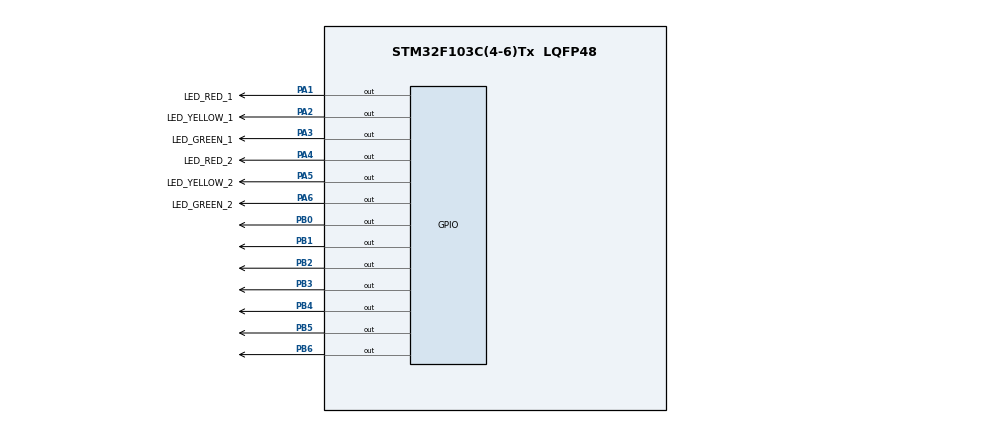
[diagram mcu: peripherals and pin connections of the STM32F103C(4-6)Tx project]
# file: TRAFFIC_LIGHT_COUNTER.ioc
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Mcu.Family=STM32F1
Mcu.Name=STM32F103C(4-6)Tx
Mcu.Package=LQFP48
NVIC.PriorityGroup=NVIC_PRIORITYGROUP_4
PA1.GPIO_Label=LED_RED_1
PA1.Signal=GPIO_Output
PA2.GPIO_Label=LED_YELLOW_1
PA2.Signal=GPIO_Output
PA3.GPIO_Label=LED_GREEN_1
PA3.Signal=GPIO_Output
PA4.GPIO_Label=LED_RED_2
PA4.Signal=GPIO_Output
PA5.GPIO_Label=LED_YELLOW_2
PA5.Signal=GPIO_Output
PA6.GPIO_Label=LED_GREEN_2
PA6.Signal=GPIO_Output
PB0.Signal=GPIO_Output
PB1.Signal=GPIO_Output
PB2.Signal=GPIO_Output
PB3.Signal=GPIO_Output
PB4.Signal=GPIO_Output
PB5.Signal=GPIO_Output
PB6.Signal=GPIO_Output
ProjectManager.HeapSize=0x200
ProjectManager.StackSize=0x400
ProjectManager.TargetToolchain=STM32CubeIDE
RCC.APB1Freq_Value=8000000
RCC.APB2Freq_Value=8000000
board=custom

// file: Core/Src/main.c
/* USER CODE BEGIN Header */
/**
  ******************************************************************************
  * @file           : main.c
  * @brief          : Main program body
  ******************************************************************************
  * @attention
  *
  * Copyright (c) 2024 STMicroelectronics.
  * All rights reserved.
  *
  * This software is licensed under terms that can be found in the LICENSE file
  * in the root directory of this software component.
  * If no LICENSE file comes with this software, it is provided AS-IS.
  *
  ******************************************************************************
  */
/* USER CODE END Header */
#include "main.h"

/* USER CODE BEGIN PV */

#define SEG_A GPIO_PIN_0
#define SEG_B GPIO_PIN_1
#define SEG_C GPIO_PIN_2
#define SEG_D GPIO_PIN_3
#define SEG_E GPIO_PIN_4
#define SEG_F GPIO_PIN_5
#define SEG_G GPIO_PIN_6

#define GPIO_SEG_PORT GPIOB // Assuming the segments are connected to port B

// Lookup table for 7-segment display (common anode or cathode depending on your setup)
int segment_map[10] = {
    0b00111111, // 0
    0b00000110, // 1
    0b01011011, // 2
    0b01001111, // 3
    0b01100110, // 4
    0b01101101, // 5
    0b01111101, // 6
    0b00000111, // 7
    0b01111111, // 8
    0b01101111  // 9
};

// Function to display a digit on the 7-segment display
void display7SEG(int num) {
    if (num > 9) return; // Limit input to 0-9

    uint8_t segments = segment_map[num];

    HAL_GPIO_WritePin(GPIO_SEG_PORT, SEG_A, (segments & 0x01) ? GPIO_PIN_RESET : GPIO_PIN_SET);
    HAL_GPIO_WritePin(GPIO_SEG_PORT, SEG_B, (segments & 0x02) ? GPIO_PIN_RESET : GPIO_PIN_SET);
    HAL_GPIO_WritePin(GPIO_SEG_PORT, SEG_C, (segments & 0x04) ? GPIO_PIN_RESET : GPIO_PIN_SET);
    HAL_GPIO_WritePin(GPIO_SEG_PORT, SEG_D, (segments & 0x08) ? GPIO_PIN_RESET : GPIO_PIN_SET);
    HAL_GPIO_WritePin(GPIO_SEG_PORT, SEG_E, (segments & 0x10) ? GPIO_PIN_RESET : GPIO_PIN_SET);
    HAL_GPIO_WritePin(GPIO_SEG_PORT, SEG_F, (segments & 0x20) ? GPIO_PIN_RESET : GPIO_PIN_SET);
    HAL_GPIO_WritePin(GPIO_SEG_PORT, SEG_G, (segments & 0x40) ? GPIO_PIN_RESET : GPIO_PIN_SET);
}

/* USER CODE END PV */

void SystemClock_Config(void);
static void MX_GPIO_Init(void);

int main(void)
{

  /* MCU Configuration--------------------------------------------------------*/

  /* Reset of all peripherals, Initializes the Flash interface and the Systick. */
  HAL_Init();

  /* Configure the system clock */
  SystemClock_Config();

  /* Initialize all configured peripherals */
  MX_GPIO_Init();

  /* Infinite loop */
  /* USER CODE BEGIN WHILE */
  int counter = 0;
  while (1)
  {
      if(counter > 9) counter = 0;
      if(counter <= 2 ) /* green on the first and red on the second */
      	  {
      	  	display7SEG(4 - counter);
      	  	HAL_GPIO_WritePin(LED_RED_1_GPIO_Port, LED_RED_1_Pin, GPIO_PIN_RESET);
      	    HAL_GPIO_WritePin(LED_YELLOW_1_GPIO_Port, LED_YELLOW_1_Pin, GPIO_PIN_RESET);
      	    HAL_GPIO_WritePin(LED_GREEN_2_GPIO_Port, LED_GREEN_2_Pin, GPIO_PIN_RESET);
      		HAL_GPIO_WritePin(LED_YELLOW_2_GPIO_Port, LED_YELLOW_2_Pin, GPIO_PIN_RESET);
      		HAL_GPIO_WritePin(LED_GREEN_1_GPIO_Port, LED_GREEN_1_Pin, GPIO_PIN_SET);
      		HAL_GPIO_WritePin(LED_RED_2_GPIO_Port, LED_RED_2_Pin, GPIO_PIN_SET);
      	  }
      else if(counter <= 4) /*yellow on the first and red on the second */
      	  {
      		display7SEG(4 - counter);
      		HAL_GPIO_WritePin(LED_GREEN_2_GPIO_Port, LED_GREEN_2_Pin, GPIO_PIN_RESET);
      		HAL_GPIO_WritePin(LED_YELLOW_2_GPIO_Port, LED_YELLOW_2_Pin, GPIO_PIN_RESET);
      		HAL_GPIO_WritePin(LED_GREEN_1_GPIO_Port, LED_GREEN_1_Pin, GPIO_PIN_RESET);
      	    HAL_GPIO_WritePin(LED_RED_1_GPIO_Port, LED_RED_1_Pin, GPIO_PIN_RESET);
      		HAL_GPIO_WritePin(LED_YELLOW_1_GPIO_Port, LED_YELLOW_1_Pin, GPIO_PIN_SET);
      		HAL_GPIO_WritePin(LED_RED_2_GPIO_Port, LED_RED_2_Pin, GPIO_PIN_SET);
      	  }
      else if(counter <= 7) /*red on the first and green on the second*/
      	  {
      		display7SEG(7 - counter);
      		HAL_GPIO_WritePin(LED_YELLOW_1_GPIO_Port, LED_YELLOW_1_Pin, GPIO_PIN_RESET);
      		HAL_GPIO_WritePin(LED_GREEN_1_GPIO_Port, LED_GREEN_1_Pin, GPIO_PIN_RESET);
      		HAL_GPIO_WritePin(LED_RED_2_GPIO_Port, LED_RED_2_Pin, GPIO_PIN_RESET);
      		HAL_GPIO_WritePin(LED_YELLOW_2_GPIO_Port, LED_YELLOW_2_Pin, GPIO_PIN_RESET);
      		HAL_GPIO_WritePin(LED_RED_1_GPIO_Port, LED_RED_1_Pin, GPIO_PIN_SET);
      		HAL_GPIO_WritePin(LED_GREEN_2_GPIO_Port, LED_GREEN_2_Pin, GPIO_PIN_SET);
      	  }
      else if(counter <= 9) /*red on the first and yellow on the second*/
      	  {
      		display7SEG(9 - counter);
      		HAL_GPIO_WritePin(LED_YELLOW_1_GPIO_Port, LED_YELLOW_1_Pin, GPIO_PIN_RESET);
      		HAL_GPIO_WritePin(LED_GREEN_1_GPIO_Port, LED_GREEN_1_Pin, GPIO_PIN_RESET);
      		HAL_GPIO_WritePin(LED_GREEN_2_GPIO_Port, LED_GREEN_2_Pin, GPIO_PIN_RESET);
      		HAL_GPIO_WritePin(LED_RED_2_GPIO_Port, LED_RED_2_Pin, GPIO_PIN_RESET);
      		HAL_GPIO_WritePin(LED_RED_1_GPIO_Port, LED_RED_1_Pin, GPIO_PIN_SET);
      		HAL_GPIO_WritePin(LED_YELLOW_2_GPIO_Port, LED_YELLOW_2_Pin, GPIO_PIN_SET);
      	  }
      	  counter++;
      	  HAL_Delay(1000);
      /* USER CODE END WHILE */
  }
}

void SystemClock_Config(void)
{
  RCC_OscInitTypeDef RCC_OscInitStruct = {0};
  RCC_ClkInitTypeDef RCC_ClkInitStruct = {0};

  /** Initializes the RCC Oscillators according to the specified parameters
  * in the RCC_OscInitTypeDef structure.
  */
  RCC_OscInitStruct.OscillatorType = RCC_OSCILLATORTYPE_HSI;
  RCC_OscInitStruct.HSIState = RCC_HSI_ON;
  RCC_OscInitStruct.HSICalibrationValue = RCC_HSICALIBRATION_DEFAULT;
  RCC_OscInitStruct.PLL.PLLState = RCC_PLL_NONE;
  if (HAL_RCC_OscConfig(&RCC_OscInitStruct) != HAL_OK)
  {
    Error_Handler();
  }

  /** Initializes the CPU, AHB and APB buses clocks
  */
  RCC_ClkInitStruct.ClockType = RCC_CLOCKTYPE_HCLK|RCC_CLOCKTYPE_SYSCLK
                              |RCC_CLOCKTYPE_PCLK1|RCC_CLOCKTYPE_PCLK2;
  RCC_ClkInitStruct.SYSCLKSource = RCC_SYSCLKSOURCE_HSI;
  RCC_ClkInitStruct.AHBCLKDivider = RCC_SYSCLK_DIV1;
  RCC_ClkInitStruct.APB1CLKDivider = RCC_HCLK_DIV1;
  RCC_ClkInitStruct.APB2CLKDivider = RCC_HCLK_DIV1;

  if (HAL_RCC_ClockConfig(&RCC_ClkInitStruct, FLASH_LATENCY_0) != HAL_OK)
  {
    Error_Handler();
  }
}

static void MX_GPIO_Init(void)
{
  GPIO_InitTypeDef GPIO_InitStruct = {0};

  /* GPIO Ports Clock Enable */
  __HAL_RCC_GPIOA_CLK_ENABLE();
  __HAL_RCC_GPIOB_CLK_ENABLE();

  /*Configure GPIO pin Output Level */
  HAL_GPIO_WritePin(GPIOA, LED_RED_1_Pin|LED_YELLOW_1_Pin|LED_GREEN_1_Pin|LED_RED_2_Pin
                          |LED_YELLOW_2_Pin|LED_GREEN_2_Pin, GPIO_PIN_RESET);

  /*Configure GPIO pin Output Level */
  HAL_GPIO_WritePin(GPIOB, GPIO_PIN_0|GPIO_PIN_1|GPIO_PIN_2|GPIO_PIN_3
                          |GPIO_PIN_4|GPIO_PIN_5|GPIO_PIN_6, GPIO_PIN_RESET);

  /*Configure GPIO pins : LED_RED_1_Pin LED_YELLOW_1_Pin LED_GREEN_1_Pin LED_RED_2_Pin
                           LED_YELLOW_2_Pin LED_GREEN_2_Pin */
  GPIO_InitStruct.Pin = LED_RED_1_Pin|LED_YELLOW_1_Pin|LED_GREEN_1_Pin|LED_RED_2_Pin
                          |LED_YELLOW_2_Pin|LED_GREEN_2_Pin;
  GPIO_InitStruct.Mode = GPIO_MODE_OUTPUT_PP;
  GPIO_InitStruct.Pull = GPIO_NOPULL;
  GPIO_InitStruct.Speed = GPIO_SPEED_FREQ_LOW;
  HAL_GPIO_Init(GPIOA, &GPIO_InitStruct);

  /*Configure GPIO pins : PB0 PB1 PB2 PB3
                           PB4 PB5 PB6 */
  GPIO_InitStruct.Pin = GPIO_PIN_0|GPIO_PIN_1|GPIO_PIN_2|GPIO_PIN_3
                          |GPIO_PIN_4|GPIO_PIN_5|GPIO_PIN_6;
  GPIO_InitStruct.Mode = GPIO_MODE_OUTPUT_PP;
  GPIO_InitStruct.Pull = GPIO_NOPULL;
  GPIO_InitStruct.Speed = GPIO_SPEED_FREQ_LOW;
  HAL_GPIO_Init(GPIOB, &GPIO_InitStruct);

}

void Error_Handler(void)
{
  __disable_irq();
  while (1)
  {
  }
}
